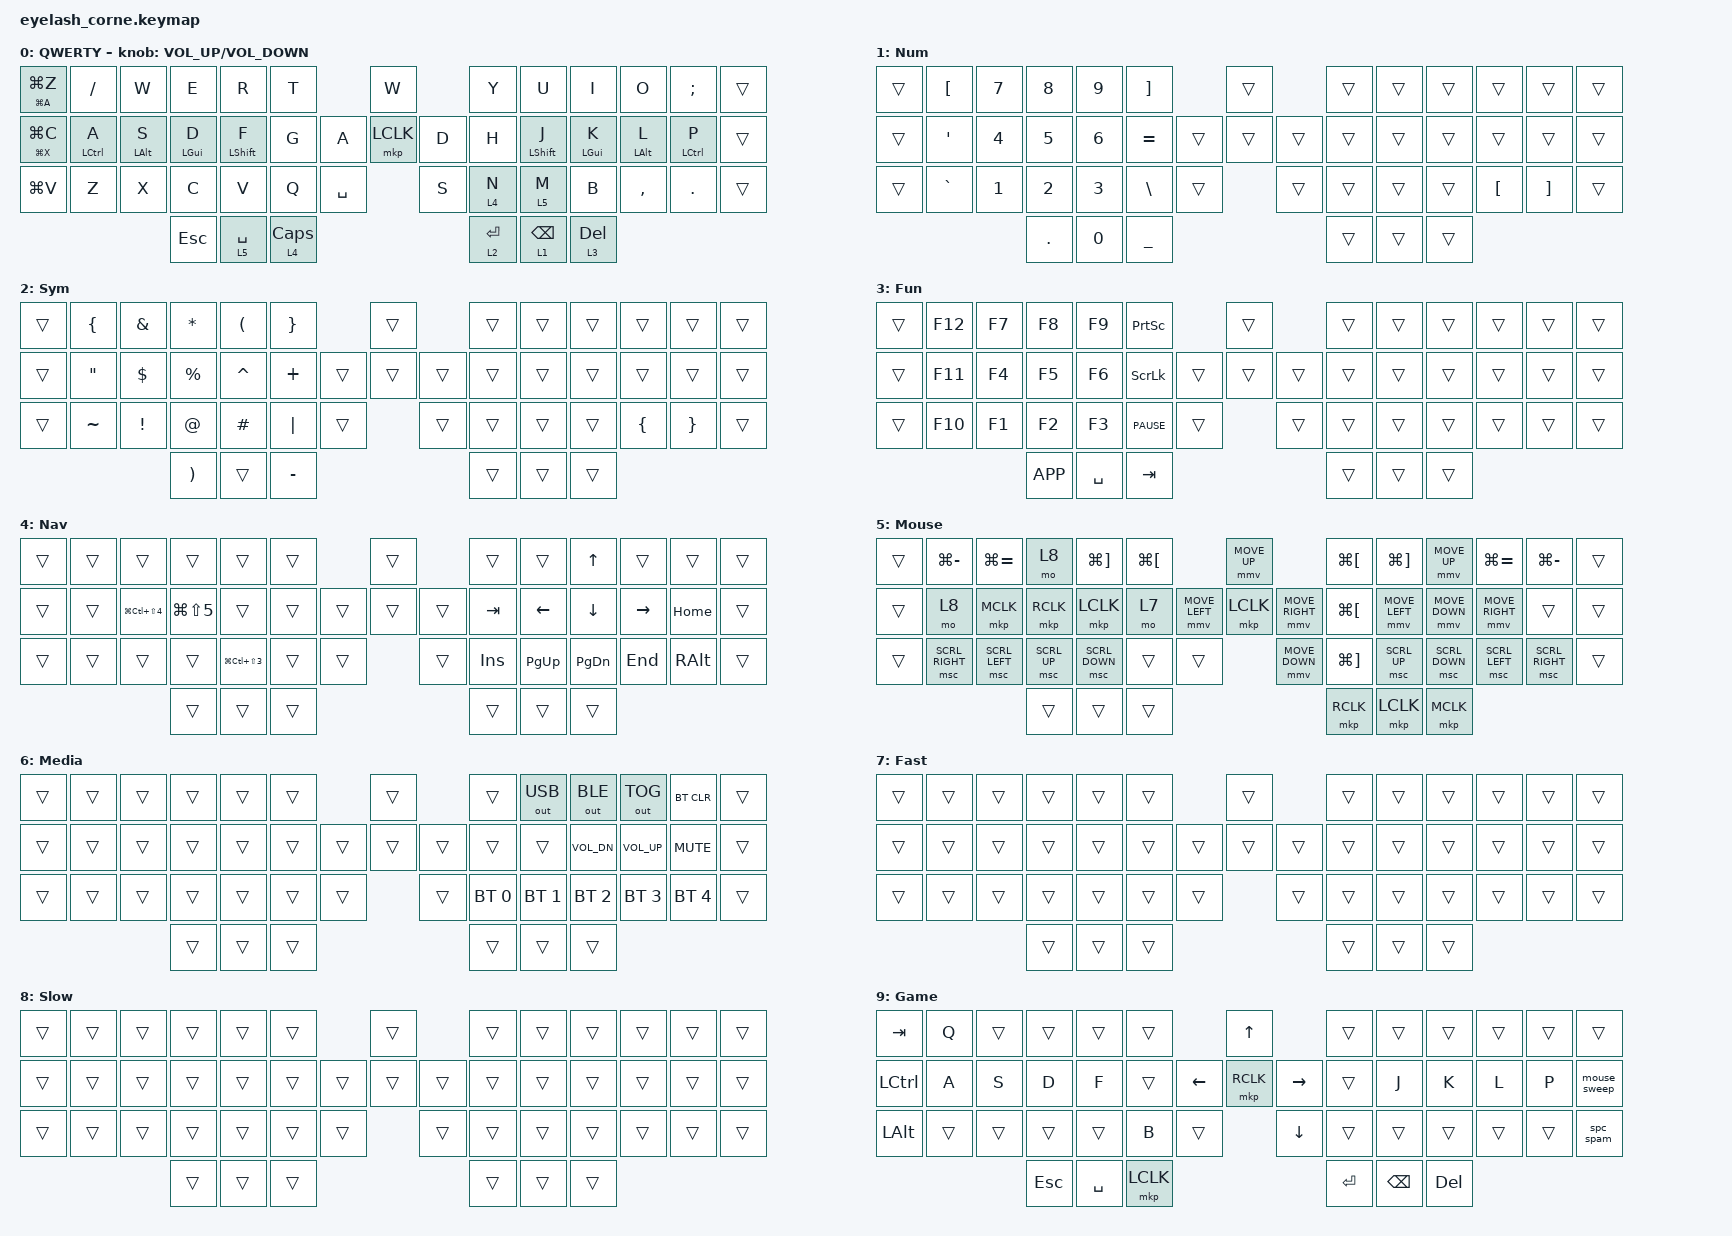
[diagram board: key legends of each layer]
/*
 * Eyelash Corne: user-editable keymap for the original 48-position layout.
 * Layer bindings, hold-taps, macros, combos and active encoder binding are preserved.
 * DYA runtime sensor behaviors and pointing tuning live in the sibling .dtsi file.
 * Keep eyelash_corne_support.dtsi next to this file when copying/uploading it.
 */

#define ZMK_POINTING_DEFAULT_MOVE_VAL 1200
#define ZMK_POINTING_DEFAULT_SCRL_VAL 25

#include <behaviors.dtsi>
#include <dt-bindings/zmk/bt.h>
#include <dt-bindings/zmk/keys.h>
#include <dt-bindings/zmk/outputs.h>
#include <dt-bindings/zmk/pointing.h>
#include "eyelash_corne_support.dtsi"

/ {
    behaviors {
        td0: td0 {
            compatible = "zmk,behavior-tap-dance";
            display-name = "Shift/Caps Lock Tap Dance";
            #binding-cells = <0>;
            bindings = <&kp LEFT_SHIFT>, <&kp CAPS>;
        };

        hm200: hm200 {
            compatible = "zmk,behavior-hold-tap";
            label = "HOMEROW_MODS";
            bindings = <&kp>, <&kp>;

            #binding-cells = <2>;
            tapping-term-ms = <200>;
            quick-tap-ms = <130>;
            require-prior-idle-ms = <(-1)>;
            flavor = "tap-preferred";
        };

        hm250: hm250 {
            compatible = "zmk,behavior-hold-tap";
            label = "HM250";
            bindings = <&kp>, <&kp>;

            #binding-cells = <2>;
            tapping-term-ms = <250>;
            quick-tap-ms = <130>;
            require-prior-idle-ms = <(-1)>;
            flavor = "tap-preferred";
        };
    };

    combos {
        compatible = "zmk,combos";

        mouse {
            bindings = <&tog 5>;
            key-positions = <33 44>;
        };

        game {
            bindings = <&tog 9>;
            key-positions = <18 40>;
        };

        enter {
            bindings = <&kp ENTER>;
            key-positions = <23 24>;
        };

        back_space {
            bindings = <&kp BACKSPACE>;
            key-positions = <24 25>;
        };

        space {
            bindings = <&kp SPACE>;
            key-positions = <15 14>;
            timeout-ms = <50>;
        };

        caps {
            bindings = <&kp CAPS>;
            key-positions = <16 17>;
            timeout-ms = <50>;
        };
    };

    keymap {
        compatible = "zmk,keymap";

        default_layer {
            display-name = "QWERTY";
            bindings = <
&mt LG(A) LG(Z)  &kp SLASH       &kp W          &kp E              &kp R           &kp T                               &kp W             &kp Y        &kp U            &kp I              &kp O          &kp SEMICOLON   &trans
&mt LG(X) LG(C)  &hm250 LCTRL A  &hm200 LALT S  &hm200 LEFT_GUI D  &hm200 LSHFT F  &kp G                        &kp A  &mkp LCLK  &kp D  &kp H        &hm200 LSHFT J   &hm200 LEFT_GUI K  &hm200 LALT L  &hm250 LCTRL P  &trans
&kp LG(V)        &kp Z           &kp X          &kp C              &kp V           &kp Q           &kp SPACE           &kp S             &lt 4 N      &lt 5 M          &kp B              &kp COMMA      &kp PERIOD      &trans
                                                &kp ESCAPE         &lt 5 SPACE     &lt 4 CAPSLOCK                                        &lt 2 ENTER  &lt 1 BACKSPACE  &lt 3 DEL
            >;

            sensor-bindings = <&inc_dec_kp C_VOLUME_UP C_VOLUME_DOWN>;
        };

        Num {
            display-name = "Num";
            bindings = <
&trans  &kp LBKT   &kp N7  &kp N8   &kp N9  &kp RBKT                          &trans          &trans  &trans  &trans  &trans    &trans    &trans
&trans  &kp APOS   &kp N4  &kp N5   &kp N6  &kp EQUAL                 &trans  &trans  &trans  &trans  &trans  &trans  &trans    &trans    &trans
&trans  &kp GRAVE  &kp N1  &kp N2   &kp N3  &kp BSLH        &trans            &trans          &trans  &trans  &trans  &kp LBKT  &kp RBKT  &trans
                           &kp DOT  &kp N0  &kp UNDERSCORE                                    &trans  &trans  &trans
            >;
        };

        Sym {
            display-name = "Sym";
            bindings = <
&trans  &kp LBRC   &kp AMPS  &kp ASTRK  &kp LPAR   &kp RBRC                     &trans          &trans  &trans  &trans  &trans    &trans    &trans
&trans  &kp DQT    &kp DLLR  &kp PRCNT  &kp CARET  &kp PLUS             &trans  &trans  &trans  &trans  &trans  &trans  &trans    &trans    &trans
&trans  &kp TILDE  &kp EXCL  &kp AT     &kp HASH   &kp PIPE   &trans            &trans          &trans  &trans  &trans  &kp LBRC  &kp RBRC  &trans
                             &kp RPAR   &trans     &kp MINUS                                    &trans  &trans  &trans
            >;
        };

        Fun {
            display-name = "Fun";
            bindings = <
&trans  &kp F12  &kp F7  &kp F8     &kp F9     &kp PSCRN                      &trans          &trans  &trans  &trans  &trans  &trans  &trans
&trans  &kp F11  &kp F4  &kp F5     &kp F6     &kp SLCK               &trans  &trans  &trans  &trans  &trans  &trans  &trans  &trans  &trans
&trans  &kp F10  &kp F1  &kp F2     &kp F3     &kp C_PAUSE  &trans            &trans          &trans  &trans  &trans  &trans  &trans  &trans
                         &kp K_APP  &kp SPACE  &kp TAB                                        &trans  &trans  &trans
            >;
        };

        Nav {
            display-name = "Nav";
            bindings = <
&trans  &trans  &trans              &trans          &trans              &trans                    &trans          &trans   &trans     &kp UP     &trans     &trans    &trans
&trans  &trans  &kp LG(LC(LS(N4)))  &kp LG(LS(N5))  &trans              &trans            &trans  &trans  &trans  &kp TAB  &kp LEFT   &kp DOWN   &kp RIGHT  &kp HOME  &trans
&trans  &trans  &trans              &trans          &kp LG(LC(LS(N3)))  &trans  &trans            &trans          &kp INS  &kp PG_UP  &kp PG_DN  &kp END    &kp RALT  &trans
                                    &trans          &trans              &trans                                    &trans   &trans     &trans
            >;
        };

        Mouse {
            display-name = "Mouse";
            bindings = <
&trans  &kp LG(MINUS)    &kp LG(EQUAL)   &mo 8         &kp LG(RBKT)    &kp LG(LBKT)                            &mmv MOVE_UP                     &kp LG(LBKT)  &kp LG(RBKT)    &mmv MOVE_UP    &kp LG(EQUAL)    &kp LG(MINUS)    &trans
&trans  &mo 8            &mkp MCLK       &mkp RCLK     &mkp LCLK       &mo 7                   &mmv MOVE_LEFT  &mkp LCLK       &mmv MOVE_RIGHT  &kp LG(LBKT)  &mmv MOVE_LEFT  &mmv MOVE_DOWN  &mmv MOVE_RIGHT  &trans           &trans
&trans  &msc SCRL_RIGHT  &msc SCRL_LEFT  &msc SCRL_UP  &msc SCRL_DOWN  &trans        &trans                    &mmv MOVE_DOWN                   &kp LG(RBKT)  &msc SCRL_UP    &msc SCRL_DOWN  &msc SCRL_LEFT   &msc SCRL_RIGHT  &trans
                                         &trans        &trans          &trans                                                                   &mkp RCLK     &mkp LCLK       &mkp MCLK
            >;
        };

        Media {
            display-name = "Media";
            bindings = <
&trans  &trans  &trans  &trans  &trans  &trans                    &trans          &trans        &out OUT_USB  &out OUT_BLE  &out OUT_TOG  &bt BT_CLR    &trans
&trans  &trans  &trans  &trans  &trans  &trans            &trans  &trans  &trans  &trans        &trans        &kp C_VOL_DN  &kp C_VOL_UP  &kp K_MUTE    &trans
&trans  &trans  &trans  &trans  &trans  &trans  &trans            &trans          &bt BT_SEL 0  &bt BT_SEL 1  &bt BT_SEL 2  &bt BT_SEL 3  &bt BT_SEL 4  &trans
                        &trans  &trans  &trans                                    &trans        &trans        &trans
            >;
        };

        MouseFast {
            display-name = "Fast";
            bindings = <
&trans  &trans  &trans  &trans  &trans  &trans                    &trans          &trans  &trans  &trans  &trans  &trans  &trans
&trans  &trans  &trans  &trans  &trans  &trans            &trans  &trans  &trans  &trans  &trans  &trans  &trans  &trans  &trans
&trans  &trans  &trans  &trans  &trans  &trans  &trans            &trans          &trans  &trans  &trans  &trans  &trans  &trans
                        &trans  &trans  &trans                                    &trans  &trans  &trans
            >;
        };

        MouseSlow {
            display-name = "Slow";
            bindings = <
&trans  &trans  &trans  &trans  &trans  &trans                    &trans          &trans  &trans  &trans  &trans  &trans  &trans
&trans  &trans  &trans  &trans  &trans  &trans            &trans  &trans  &trans  &trans  &trans  &trans  &trans  &trans  &trans
&trans  &trans  &trans  &trans  &trans  &trans  &trans            &trans          &trans  &trans  &trans  &trans  &trans  &trans
                        &trans  &trans  &trans                                    &trans  &trans  &trans
            >;
        };

        game {
            display-name = "Game";
            bindings = <
&kp TAB       &kp Q   &trans  &trans   &trans     &trans                         &kp UP                &trans     &trans         &trans      &trans  &trans  &trans
&kp LCTRL     &kp A   &kp S   &kp D    &kp F      &trans               &kp LEFT  &mkp RCLK  &kp RIGHT  &trans     &kp J          &kp K       &kp L   &kp P   &mouse_sweep
&kp LEFT_ALT  &trans  &trans  &trans   &trans     &kp B      &trans              &kp DOWN              &trans     &trans         &trans      &trans  &trans  &spc_spam
                              &kp ESC  &kp SPACE  &mkp LCLK                                            &kp ENTER  &kp BACKSPACE  &kp DELETE
            >;
        };
    };
};
